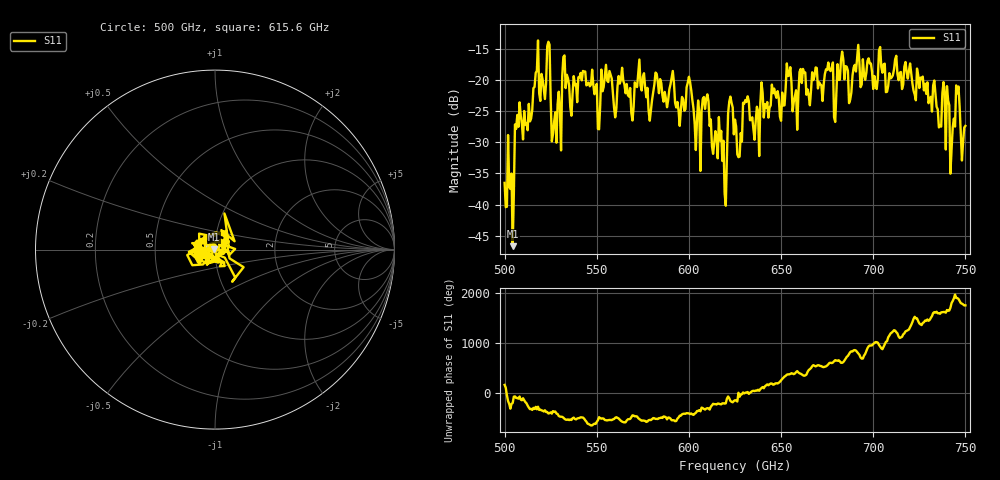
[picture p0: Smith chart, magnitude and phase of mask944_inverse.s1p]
!Created with skrf (http://scikit-rf.org).
# GHz S MA R 50.0
!freq magS11 angS11
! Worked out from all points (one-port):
!   401 points, 500 GHz to 750 GHz, reference 50 ohm
!   lowest |S11| = -46.7 dB at 504.4 GHz (marker M1), VSWR 1.01, Z = 49.6 + j0.234 ohm
!   |S11| at or under -10 dB: start of sweep to end of sweep
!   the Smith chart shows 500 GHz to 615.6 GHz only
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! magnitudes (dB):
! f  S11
! 500 GHz  -36.5
! 504.4 GHz  -46.7
! 506.9 GHz  -25.6
! 513.8 GHz  -26.6
! 516.9 GHz  -18.8
! 523.8 GHz  -13.8
! 526.9 GHz  -26.7
! 531.2 GHz  -19.4
! 542.5 GHz  -18.5
! 550.6 GHz  -27.8
! 562.5 GHz  -20.6
! 579.4 GHz  -24.9
! 590.6 GHz  -19.6
! 593.8 GHz  -23.5
! 600 GHz  -19.5
! 605 GHz  -23.3
! 609.4 GHz  -23.0
! 619.4 GHz  -38.2
! 622.5 GHz  -22.7
! 625 GHz  -26.3
! 656.2 GHz  -25.0
! 676.9 GHz  -18.6
! 680 GHz  -22.1
! 683.8 GHz  -16.7
! 687.5 GHz  -23.1
! 691.2 GHz  -16.6
! 718.8 GHz  -19.8
! 750 GHz  -27.4
